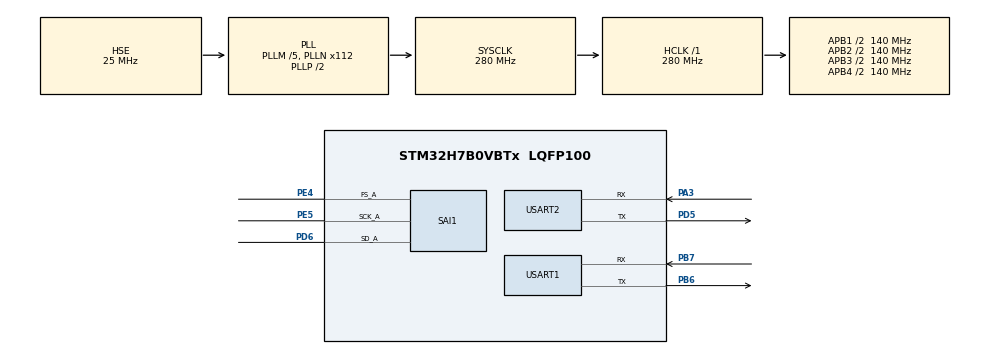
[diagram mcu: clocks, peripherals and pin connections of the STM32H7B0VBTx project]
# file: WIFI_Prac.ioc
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CORTEX_M7.default_mode_Activation=1
Mcu.Family=STM32H7
Mcu.Name=STM32H7B0VBTx
Mcu.Package=LQFP100
NVIC.PriorityGroup=NVIC_PRIORITYGROUP_4
NVIC.SAI1_IRQn=true\:0\:0\:false\:false\:true\:true\:true\:true
NVIC.USART1_IRQn=true\:0\:0\:false\:false\:true\:true\:true\:true
NVIC.USART2_IRQn=true\:0\:0\:false\:false\:true\:true\:true\:true
PA13.Mode=Serial_Wire
PA13.Signal=DEBUG_JTMS-SWDIO
PA14.Mode=Serial_Wire
PA14.Signal=DEBUG_JTCK-SWCLK
PA3.GPIO_Speed=GPIO_SPEED_FREQ_HIGH
PA3.Mode=Asynchronous
PA3.Signal=USART2_RX
PB6.GPIO_Speed=GPIO_SPEED_FREQ_HIGH
PB6.Mode=Asynchronous
PB6.Signal=USART1_TX
PB7.GPIO_Speed=GPIO_SPEED_FREQ_HIGH
PB7.Mode=Asynchronous
PB7.Signal=USART1_RX
PC14-OSC32_IN.Mode=LSE-External-Oscillator
PC14-OSC32_IN.Signal=RCC_OSC32_IN
PC15-OSC32_OUT.Mode=LSE-External-Oscillator
PC15-OSC32_OUT.Signal=RCC_OSC32_OUT
PD5.GPIO_Speed=GPIO_SPEED_FREQ_HIGH
PD5.Mode=Asynchronous
PD5.Signal=USART2_TX
PD6.GPIO_Speed=GPIO_SPEED_FREQ_VERY_HIGH
PD6.Mode=SAI_A_Master
PD6.Signal=SAI1_SD_A
PE4.GPIO_Speed=GPIO_SPEED_FREQ_VERY_HIGH
PE4.Mode=SAI_A_Master
PE4.Signal=SAI1_FS_A
PE5.GPIO_Speed=GPIO_SPEED_FREQ_VERY_HIGH
PE5.Mode=SAI_A_Master
PE5.Signal=SAI1_SCK_A
PH0-OSC_IN.Mode=HSE-External-Oscillator
PH0-OSC_IN.Signal=RCC_OSC_IN
PH1-OSC_OUT.Mode=HSE-External-Oscillator
PH1-OSC_OUT.Signal=RCC_OSC_OUT
ProjectManager.HeapSize=0x200
ProjectManager.StackSize=0x400
ProjectManager.TargetToolchain=STM32CubeIDE
RCC.ADCFreq_Value=280000000
RCC.APB1Freq_Value=140000000
RCC.APB2Freq_Value=140000000
RCC.APB3Freq_Value=140000000
RCC.APB4Freq_Value=140000000
RCC.CDPPRE=RCC_APB3_DIV2
RCC.CDPPRE1=RCC_APB1_DIV2
RCC.CDPPRE2=RCC_APB2_DIV2
RCC.CKPERSourceSelection=RCC_CLKPSOURCE_HSE
RCC.CortexFreq_Value=280000000
RCC.DIVM1=5
RCC.DIVM2=5
RCC.DIVM3=4
RCC.DIVN1=112
RCC.DIVN2=112
RCC.DIVN3=64
RCC.DIVP3=7
RCC.DIVQ3=4
RCC.FLatency=FLASH_LATENCY_6
RCC.HCLKFreq_Value=280000000
RCC.HSE_VALUE=25000000
RCC.PLLSourceVirtual=RCC_PLLSOURCE_HSE
RCC.SAI1CLockSelection=RCC_SAI1CLKSOURCE_PLL3
RCC.SRDPPRE=RCC_APB4_DIV2
RCC.SYSCLKFreq_VALUE=280000000
RCC.SYSCLKSource=RCC_SYSCLKSOURCE_PLLCLK
RCC.USBFreq_Value=280000000
SAI1.AudioFrequency-SAI_A_Master=SAI_AUDIO_FREQUENCY_22K
SAI1.ErrorAudioFreq-SAI_A_Master=1.22 %
SAI1.InitProtocol-SAI_A_Master=Enable
SAI1.Instance-SAI_A_Master=SAI$Index_Block_A
SAI1.MckOutput=SAI_MCK_OUTPUT_DISABLE
SAI1.RealAudioFreq-SAI_A_Master=22.321 KHz
SAI1.VirtualMode-SAI_A_Master=VM_MASTER
SAI1.VirtualProtocol-SAI_A_BASIC=VM_BASIC_PROTOCOL
USART1.DMADisableonRxErrorParam=ADVFEATURE_DMA_DISABLEONRXERROR
USART1.OverrunDisableParam=ADVFEATURE_OVERRUN_DISABLE
USART1.VirtualMode-Asynchronous=VM_ASYNC
USART2.DMADisableonRxErrorParam=ADVFEATURE_DMA_DISABLEONRXERROR
USART2.OverSampling=UART_OVERSAMPLING_16
USART2.OverrunDisableParam=ADVFEATURE_OVERRUN_DISABLE
USART2.VirtualMode-Asynchronous=VM_ASYNC
VP_MEMORYMAP_VS_MEMORYMAP.Mode=CurAppReg
VP_SAI1_VP_$IpInstance_SAIA_SAI_BASIC.Mode=SAI_A_BASIC
board=custom

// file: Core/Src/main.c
/* USER CODE BEGIN Header */
/**
 ******************************************************************************
 * @file           : main.c
 * @brief          : Main program body
 ******************************************************************************
 * @attention
 *
 * Copyright (c) 2025 STMicroelectronics.
 * All rights reserved.
 *
 * This software is licensed under terms that can be found in the LICENSE file
 * in the root directory of this software component.
 * If no LICENSE file comes with this software, it is provided AS-IS.
 *
 ******************************************************************************
 */
/* USER CODE END Header */
#include "main.h"
#include "./AT/AT.h"
/* USER CODE BEGIN Includes */
#include <stdio.h>
#include <string.h>
/* USER CODE END Includes */

SAI_HandleTypeDef hsai_BlockA1;

UART_HandleTypeDef huart1;
UART_HandleTypeDef huart2;

/* USER CODE BEGIN PV */

const char msg[] = "Hello, STM32 UART!\r\n";
/* USER CODE END PV */

void SystemClock_Config(void);
static void MPU_Config(void);
static void MX_GPIO_Init(void);
static void MX_USART2_UART_Init(void);
static void MX_USART1_UART_Init(void);
static void MX_SAI1_Init(void);

/* USER CODE BEGIN 0 */
//int _write(int file, char *ptr, int len) {
//	(void) file;
//	HAL_UART_Transmit(&huart1, ptr, len, HAL_MAX_DELAY);
//	return len;
//}
uint8_t uart1RxData;
uint8_t uart1RxFlag;
uint8_t uart1RxTail = 0;
uint8_t uart1RxBuff[50];

uint8_t uart2RxData;
uint8_t uart2RxFlag;
uint8_t uart2RxTail = 0;
uint8_t uart2RxBuff[50];

void HAL_UART_RxCpltCallback(UART_HandleTypeDef *huart) {
	if (huart->Instance == USART1) {
		if(receiveAtCommand(&atCmdBuf1,uart1RxData)){
			uart1RxFlag = 1;
		}
		HAL_UART_Receive_IT(&huart1, &uart1RxData, 1);
	} else if (huart->Instance == USART2) {
		if(receiveAtCommand(&atCmdBuf2,uart2RxData)){
			uart2RxFlag = 1;
		}
		HAL_UART_Receive_IT(&huart2, &uart2RxData, 1);
	}
}

/* USER CODE END 0 */

int main(void)
{

  /* MPU Configuration--------------------------------------------------------*/
  MPU_Config();

  /* MCU Configuration--------------------------------------------------------*/

  /* Reset of all peripherals, Initializes the Flash interface and the Systick. */
  HAL_Init();

  /* Configure the system clock */
  SystemClock_Config();

  /* Initialize all configured peripherals */
  MX_GPIO_Init();
  MX_USART2_UART_Init();
  MX_USART1_UART_Init();
  MX_SAI1_Init();
  /* USER CODE BEGIN 2 */
	HAL_UART_Receive_IT(&huart2, &uart2RxData, 1);
	HAL_UART_Receive_IT(&huart1, &uart1RxData, 1);
  /* USER CODE END 2 */

  /* Infinite loop */
  /* USER CODE BEGIN WHILE */
	while (1) {
		if (uart1RxFlag) {
			uart1RxFlag = 0;
			HAL_UART_Transmit(&huart2, atCmdBuf1.ATbuf, atCmdBuf1.len, 1000);
		    atCmdBuf1.len = 0;
		    atCmdBuf1.ATbuf[0] = '\0';
		} else if (uart2RxFlag) {
			uart2RxFlag = 0;
			HAL_UART_Transmit(&huart1, atCmdBuf2.ATbuf, atCmdBuf2.len, 1000);
		    atCmdBuf2.len = 0;
		    atCmdBuf2.ATbuf[0] = '\0';
		}
    /* USER CODE END WHILE */

	}
}

void SystemClock_Config(void)
{
  RCC_OscInitTypeDef RCC_OscInitStruct = {0};
  RCC_ClkInitTypeDef RCC_ClkInitStruct = {0};

  /*AXI clock gating */
  RCC->CKGAENR = 0xFFFFFFFF;

  /** Supply configuration update enable
  */
  HAL_PWREx_ConfigSupply(PWR_LDO_SUPPLY);

  /** Configure the main internal regulator output voltage
  */
  __HAL_PWR_VOLTAGESCALING_CONFIG(PWR_REGULATOR_VOLTAGE_SCALE0);

  while(!__HAL_PWR_GET_FLAG(PWR_FLAG_VOSRDY)) {}

  /** Initializes the RCC Oscillators according to the specified parameters
  * in the RCC_OscInitTypeDef structure.
  */
  RCC_OscInitStruct.OscillatorType = RCC_OSCILLATORTYPE_HSE;
  RCC_OscInitStruct.HSEState = RCC_HSE_ON;
  RCC_OscInitStruct.PLL.PLLState = RCC_PLL_ON;
  RCC_OscInitStruct.PLL.PLLSource = RCC_PLLSOURCE_HSE;
  RCC_OscInitStruct.PLL.PLLM = 5;
  RCC_OscInitStruct.PLL.PLLN = 112;
  RCC_OscInitStruct.PLL.PLLP = 2;
  RCC_OscInitStruct.PLL.PLLQ = 2;
  RCC_OscInitStruct.PLL.PLLR = 2;
  RCC_OscInitStruct.PLL.PLLRGE = RCC_PLL1VCIRANGE_2;
  RCC_OscInitStruct.PLL.PLLVCOSEL = RCC_PLL1VCOWIDE;
  RCC_OscInitStruct.PLL.PLLFRACN = 0;
  if (HAL_RCC_OscConfig(&RCC_OscInitStruct) != HAL_OK)
  {
    Error_Handler();
  }

  /** Initializes the CPU, AHB and APB buses clocks
  */
  RCC_ClkInitStruct.ClockType = RCC_CLOCKTYPE_HCLK|RCC_CLOCKTYPE_SYSCLK
                              |RCC_CLOCKTYPE_PCLK1|RCC_CLOCKTYPE_PCLK2
                              |RCC_CLOCKTYPE_D3PCLK1|RCC_CLOCKTYPE_D1PCLK1;
  RCC_ClkInitStruct.SYSCLKSource = RCC_SYSCLKSOURCE_PLLCLK;
  RCC_ClkInitStruct.SYSCLKDivider = RCC_SYSCLK_DIV1;
  RCC_ClkInitStruct.AHBCLKDivider = RCC_HCLK_DIV1;
  RCC_ClkInitStruct.APB3CLKDivider = RCC_APB3_DIV2;
  RCC_ClkInitStruct.APB1CLKDivider = RCC_APB1_DIV2;
  RCC_ClkInitStruct.APB2CLKDivider = RCC_APB2_DIV2;
  RCC_ClkInitStruct.APB4CLKDivider = RCC_APB4_DIV2;

  if (HAL_RCC_ClockConfig(&RCC_ClkInitStruct, FLASH_LATENCY_6) != HAL_OK)
  {
    Error_Handler();
  }
}

static void MX_SAI1_Init(void)
{

  hsai_BlockA1.Instance = SAI1_Block_A;
  hsai_BlockA1.Init.AudioMode = SAI_MODEMASTER_TX;
  hsai_BlockA1.Init.Synchro = SAI_ASYNCHRONOUS;
  hsai_BlockA1.Init.OutputDrive = SAI_OUTPUTDRIVE_DISABLE;
  hsai_BlockA1.Init.NoDivider = SAI_MASTERDIVIDER_ENABLE;
  hsai_BlockA1.Init.FIFOThreshold = SAI_FIFOTHRESHOLD_EMPTY;
  hsai_BlockA1.Init.AudioFrequency = SAI_AUDIO_FREQUENCY_22K;
  hsai_BlockA1.Init.SynchroExt = SAI_SYNCEXT_DISABLE;
  hsai_BlockA1.Init.MonoStereoMode = SAI_STEREOMODE;
  hsai_BlockA1.Init.CompandingMode = SAI_NOCOMPANDING;
  hsai_BlockA1.Init.TriState = SAI_OUTPUT_NOTRELEASED;
  if (HAL_SAI_InitProtocol(&hsai_BlockA1, SAI_I2S_STANDARD, SAI_PROTOCOL_DATASIZE_16BIT, 2) != HAL_OK)
  {
    Error_Handler();
  }

}

static void MX_USART1_UART_Init(void)
{

  huart1.Instance = USART1;
  huart1.Init.BaudRate = 115200;
  huart1.Init.WordLength = UART_WORDLENGTH_8B;
  huart1.Init.StopBits = UART_STOPBITS_1;
  huart1.Init.Parity = UART_PARITY_NONE;
  huart1.Init.Mode = UART_MODE_TX_RX;
  huart1.Init.HwFlowCtl = UART_HWCONTROL_NONE;
  huart1.Init.OverSampling = UART_OVERSAMPLING_16;
  huart1.Init.OneBitSampling = UART_ONE_BIT_SAMPLE_DISABLE;
  huart1.Init.ClockPrescaler = UART_PRESCALER_DIV1;
  huart1.AdvancedInit.AdvFeatureInit = UART_ADVFEATURE_RXOVERRUNDISABLE_INIT|UART_ADVFEATURE_DMADISABLEONERROR_INIT;
  huart1.AdvancedInit.OverrunDisable = UART_ADVFEATURE_OVERRUN_DISABLE;
  huart1.AdvancedInit.DMADisableonRxError = UART_ADVFEATURE_DMA_DISABLEONRXERROR;
  if (HAL_UART_Init(&huart1) != HAL_OK)
  {
    Error_Handler();
  }
  if (HAL_UARTEx_SetTxFifoThreshold(&huart1, UART_TXFIFO_THRESHOLD_1_8) != HAL_OK)
  {
    Error_Handler();
  }
  if (HAL_UARTEx_SetRxFifoThreshold(&huart1, UART_RXFIFO_THRESHOLD_1_8) != HAL_OK)
  {
    Error_Handler();
  }
  if (HAL_UARTEx_DisableFifoMode(&huart1) != HAL_OK)
  {
    Error_Handler();
  }

}

static void MX_USART2_UART_Init(void)
{

  huart2.Instance = USART2;
  huart2.Init.BaudRate = 115200;
  huart2.Init.WordLength = UART_WORDLENGTH_8B;
  huart2.Init.StopBits = UART_STOPBITS_1;
  huart2.Init.Parity = UART_PARITY_NONE;
  huart2.Init.Mode = UART_MODE_TX_RX;
  huart2.Init.HwFlowCtl = UART_HWCONTROL_NONE;
  huart2.Init.OverSampling = UART_OVERSAMPLING_16;
  huart2.Init.OneBitSampling = UART_ONE_BIT_SAMPLE_DISABLE;
  huart2.Init.ClockPrescaler = UART_PRESCALER_DIV1;
  huart2.AdvancedInit.AdvFeatureInit = UART_ADVFEATURE_RXOVERRUNDISABLE_INIT|UART_ADVFEATURE_DMADISABLEONERROR_INIT;
  huart2.AdvancedInit.OverrunDisable = UART_ADVFEATURE_OVERRUN_DISABLE;
  huart2.AdvancedInit.DMADisableonRxError = UART_ADVFEATURE_DMA_DISABLEONRXERROR;
  if (HAL_UART_Init(&huart2) != HAL_OK)
  {
    Error_Handler();
  }
  if (HAL_UARTEx_SetTxFifoThreshold(&huart2, UART_TXFIFO_THRESHOLD_1_8) != HAL_OK)
  {
    Error_Handler();
  }
  if (HAL_UARTEx_SetRxFifoThreshold(&huart2, UART_RXFIFO_THRESHOLD_1_8) != HAL_OK)
  {
    Error_Handler();
  }
  if (HAL_UARTEx_DisableFifoMode(&huart2) != HAL_OK)
  {
    Error_Handler();
  }

}

static void MX_GPIO_Init(void)
{

  /* GPIO Ports Clock Enable */
  __HAL_RCC_GPIOE_CLK_ENABLE();
  __HAL_RCC_GPIOC_CLK_ENABLE();
  __HAL_RCC_GPIOH_CLK_ENABLE();
  __HAL_RCC_GPIOA_CLK_ENABLE();
  __HAL_RCC_GPIOD_CLK_ENABLE();
  __HAL_RCC_GPIOB_CLK_ENABLE();

}

 /* MPU Configuration */

void MPU_Config(void)
{
  MPU_Region_InitTypeDef MPU_InitStruct = {0};

  /* Disables the MPU */
  HAL_MPU_Disable();

  /** Initializes and configures the Region and the memory to be protected
  */
  MPU_InitStruct.Enable = MPU_REGION_ENABLE;
  MPU_InitStruct.Number = MPU_REGION_NUMBER0;
  MPU_InitStruct.BaseAddress = 0x0;
  MPU_InitStruct.Size = MPU_REGION_SIZE_4GB;
  MPU_InitStruct.SubRegionDisable = 0x87;
  MPU_InitStruct.TypeExtField = MPU_TEX_LEVEL0;
  MPU_InitStruct.AccessPermission = MPU_REGION_NO_ACCESS;
  MPU_InitStruct.DisableExec = MPU_INSTRUCTION_ACCESS_DISABLE;
  MPU_InitStruct.IsShareable = MPU_ACCESS_SHAREABLE;
  MPU_InitStruct.IsCacheable = MPU_ACCESS_NOT_CACHEABLE;
  MPU_InitStruct.IsBufferable = MPU_ACCESS_NOT_BUFFERABLE;

  HAL_MPU_ConfigRegion(&MPU_InitStruct);
  /* Enables the MPU */
  HAL_MPU_Enable(MPU_PRIVILEGED_DEFAULT);

}

void Error_Handler(void)
{
	__disable_irq();
	while (1) {
	}
}
